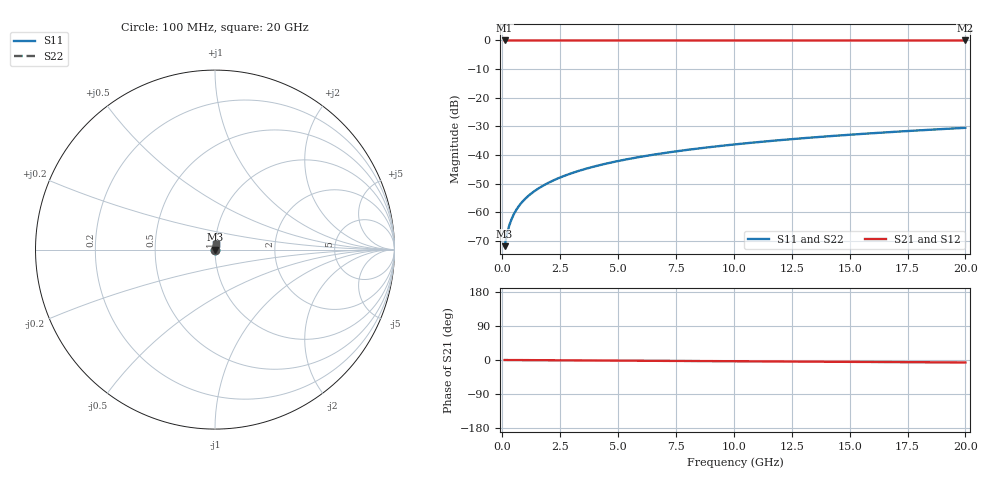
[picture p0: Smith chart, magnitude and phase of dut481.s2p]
! Touchstone file exported from HFSS 2026.1.0
!  File:  C:/ffzhzh/LocalFiles/Ansys_Project_Files/temp_train_TSV_481_1783022567_51716.aedt
!  Generated:  04:04:42 AM Jul  3, 2026
!  Design:  TSV
!  Project:  temp_train_TSV_481_1783022567_51716
! Variables:
!  h_bsmrdl = 2um
!  h_ox = 20um
!  h_rdl = 5um
!  h_sub = 60.14um
!  h_tmrdl = 5um
!  h_tsv = 60.14um
!  h_via = 3um
!  l_bsmrdl = 300um
!  l_sub = 414.18um
!  l_tmrdl = 200um
!  m_sub = 200um
!  pitch = 39.67um
!  r_tsv = 7.09um
!  s_tmrdl = 10um
!  w_bsmrdl = 18um
!  w_sub = 500um
!  w_tmrdl = 12um
!  x_tsv_center1 = 206um
!  x_tsv_center2 = 524um
!  x_tsv_center3 = 736um
!  x_tsv_center4 = 1054um
!  x_tsv_center5 = 1266um
!  x_tsv_center6 = 1584um
# GHz S MA R 50.000000
! Terminal data exported
! Port[1] = TSV1_1_T1
! Port[2] = TSV1_1_T2
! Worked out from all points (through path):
!   200 points, 100 MHz to 20 GHz, reference 50 ohm
!   highest |S21| = 0.00 dB at 100 MHz (marker M1); lowest = 0.0 dB at 20 GHz (marker M2)
!   lowest |S11| = -71.9 dB at 100 MHz (marker M3), VSWR 1.00, Z = 50 + j0.0185 ohm
!   |S11| at or under -10 dB: start of sweep to end of sweep
!   |S22| runs from -71.9 to -30.5 dB; largest |S21 - S12| = 2e-15
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0.1  0.000254 46.8  0.9998 -0.0  0.9998 -0.0  0.000254 46.8
! Gamma 0 0 0 0
! Port Impedance 50 0 50 0
0.2  0.0004115 63.5  0.9998 -0.1  0.9998 -0.1  0.0004115 63.5
0.3  0.0005824 70.1  0.9998 -0.1  0.9998 -0.1  0.0005824 70.1
0.4  0.0007539 73.3  0.9998 -0.1  0.9998 -0.1  0.0007539 73.3
0.5  0.0009229 75.2  0.9998 -0.2  0.9998 -0.2  0.0009229 75.2
0.6  0.001089 76.4  0.9997 -0.2  0.9997 -0.2  0.001089 76.4
0.7  0.001251 77.3  0.9997 -0.2  0.9997 -0.2  0.001251 77.3
0.8  0.001411 78.0  0.9997 -0.3  0.9997 -0.3  0.001411 78.0
1  0.001726 79.0  0.9997 -0.3  0.9997 -0.3  0.001726 79.0
1.4  0.002345 80.6  0.9996 -0.5  0.9996 -0.5  0.002345 80.6
1.7  0.002806 81.3  0.9996 -0.6  0.9996 -0.6  0.002806 81.3
2  0.003266 81.9  0.9996 -0.7  0.9996 -0.7  0.003266 81.9
2.7  0.004337 82.8  0.9995 -0.9  0.9995 -0.9  0.004337 82.8
3.5  0.005554 83.3  0.9994 -1.2  0.9994 -1.2  0.005554 83.3
4.2  0.006612 83.5  0.9994 -1.4  0.9994 -1.4  0.006612 83.5
5  0.007813 83.6  0.9993 -1.6  0.9993 -1.6  0.007813 83.6
6.8  0.01049 83.6  0.9992 -2.2  0.9992 -2.2  0.01049 83.6
8.3  0.0127 83.5  0.9991 -2.7  0.9991 -2.7  0.0127 83.5
10.1  0.01535 83.3  0.999 -3.3  0.999 -3.3  0.01535 83.3
13.4  0.02017 82.6  0.9987 -4.4  0.9987 -4.4  0.02017 82.6
16.7  0.02497 81.9  0.9985 -5.5  0.9985 -5.5  0.02497 81.9
20  0.02972 81.0  0.9983 -6.5  0.9983 -6.5  0.02972 81.0
